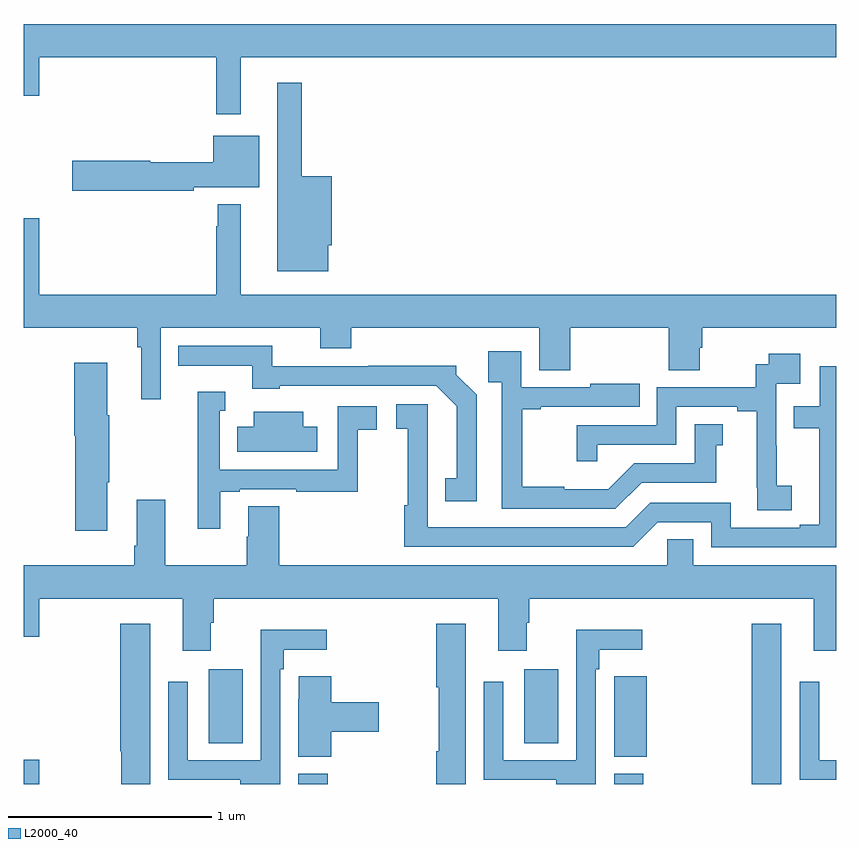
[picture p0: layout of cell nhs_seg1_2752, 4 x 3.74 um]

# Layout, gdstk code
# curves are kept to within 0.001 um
import gdstk
lib = gdstk.Library(unit=1e-6, precision=1e-09)
def R(c, l, rs):  # rectangles x0, y0, x1, y1
    for r in rs: c.add(gdstk.rectangle(r[:2], r[2:], *l))
def P(c, l, *ps):  # polygons
    for p in ps: c.add(gdstk.Polygon(p, *l))
L2000_40 = (2000, 40)

nhs_seg1_2752 = lib.new_cell('nhs_seg1_2752')
R(nhs_seg1_2752, L2000_40, [(261,504.199,261.076,504.319), (262.352,504.199,262.496,504.249), (263.906,504.199,264.05,504.249), (264.584,504.199,264.73,504.988), (261.911,504.4,262.078,504.763), (263.465,504.4,263.632,504.763)])
P(nhs_seg1_2752, L2000_40, [(261,507.588),(261.076,507.588),(261.076,507.776),(261.948,507.776),(261.948,507.495),(262.069,507.495),(262.069,507.776),(265,507.776),(265,507.94),(261,507.94)],
  [(262.498,506.85),(262.516,506.85),(262.516,507.19),(262.369,507.19),(262.369,507.652),(262.247,507.652),(262.247,506.723),(262.498,506.723)],
  [(261.836,507.137),(262.159,507.137),(262.159,507.391),(261.932,507.391),(261.932,507.26),(261.624,507.26),(261.624,507.266),(261.24,507.266),(261.24,507.119),(261.836,507.119)],
  [(261.675,506.444),(262.46,506.444),(262.46,506.345),(262.613,506.345),(262.613,506.444),(263.537,506.444),(263.537,506.236),(263.69,506.236),(263.69,506.444),(264.176,506.444),(264.176,506.236),(264.328,506.236),(264.328,506.346),(264.341,506.346),(264.341,506.444),(265,506.444),(265,506.608),(262.069,506.608),(262.069,507.052),(261.954,507.052),(261.954,506.945),(261.948,506.945),(261.948,506.608),(261.076,506.608),(261.076,506.983),(261,506.983),(261,506.444),(261.559,506.444),(261.559,506.348),(261.578,506.348),(261.578,506.094),(261.675,506.094)],
  [(263.229,506.114),(263.13,506.213),(263.13,506.258),(262.696,506.258),(262.696,506.256),(262.224,506.256),(262.224,506.355),(261.76,506.355),(261.76,506.259),(262.124,506.259),(262.124,506.144),(262.26,506.144),(262.26,506.16),(263.031,506.16),(263.132,506.059),(263.132,505.703),(263.074,505.703),(263.074,505.59),(263.229,505.59)],
  [(264.042,505.683),(264.409,505.683),(264.409,505.867),(264.442,505.867),(264.442,505.97),(264.302,505.97),(264.302,505.779),(264.006,505.779),(263.878,505.651),(263.66,505.651),(263.66,505.663),(263.453,505.663),(263.453,506.043),(263.545,506.043),(263.545,506.055),(264.032,506.055),(264.032,506.17),(263.789,506.17),(263.789,506.151),(263.448,506.151),(263.448,506.329),(263.287,506.329),(263.287,506.177),(263.352,506.177),(263.352,505.554),(263.913,505.554)],
  [(264.781,505.668),(264.707,505.668),(264.707,505.865),(264.705,505.865),(264.705,506.169),(264.823,506.169),(264.823,506.317),(264.667,506.317),(264.667,506.265),(264.604,506.265),(264.604,506.151),(264.117,506.151),(264.117,505.965),(263.722,505.965),(263.722,505.788),(263.823,505.788),(263.823,505.869),(264.213,505.869),(264.213,506.055),(264.512,506.055),(264.512,506.035),(264.608,506.035),(264.608,505.657),(264.61,505.657),(264.61,505.546),(264.781,505.546)],
  [(261.412,505.684),(261.42,505.684),(261.42,506.014),(261.412,506.014),(261.412,506.272),(261.248,506.272),(261.248,505.914),(261.254,505.914),(261.254,505.446),(261.412,505.446)],
  [(265,506.256),(264.918,506.256),(264.918,506.058),(264.79,506.058),(264.79,505.95),(264.917,505.95),(264.917,505.476),(264.821,505.476),(264.821,505.461),(264.48,505.461),(264.48,505.584),(264.084,505.584),(263.964,505.464),(262.989,505.464),(262.99,506.068),(262.833,506.068),(262.833,505.947),(262.891,505.947),(262.891,505.571),(262.873,505.571),(262.873,505.368),(264,505.368),(264.12,505.488),(264.384,505.488),(264.384,505.365),(265,505.365)],
  [(261.967,505.638),(262.063,505.638),(262.063,505.65),(262.342,505.65),(262.342,505.638),(262.644,505.638),(262.644,505.942),(262.738,505.942),(262.738,506.058),(262.545,506.058),(262.545,505.746),(261.966,505.746),(261.966,506.037),(261.991,506.037),(261.991,506.131),(261.858,506.131),(261.858,505.699),(261.857,505.699),(261.857,505.455),(261.967,505.455)],
  [(262.444,505.957),(262.375,505.957),(262.375,506.032),(262.133,506.032),(262.133,505.957),(262.051,505.957),(262.051,505.835),(262.444,505.835)],
  [(262.259,505.565),(262.106,505.565),(262.106,505.415),(262.099,505.415),(262.099,505.276),(261.697,505.276),(261.697,505.597),(261.557,505.597),(261.557,505.372),(261.545,505.372),(261.545,505.276),(261,505.276),(261,504.924),(261.076,504.924),(261.076,505.112),(261.782,505.112),(261.782,504.855),(261.922,504.855),(261.922,504.992),(261.935,504.992),(261.935,505.112),(263.336,505.112),(263.336,504.855),(263.476,504.855),(263.476,504.992),(263.489,504.992),(263.489,505.112),(264.89,505.112),(264.89,504.855),(265,504.855),(265,505.276),(264.295,505.276),(264.295,505.403),(264.168,505.403),(264.168,505.276),(262.259,505.276)],
  [(261.622,504.988),(261.476,504.988),(261.476,504.36),(261.481,504.36),(261.481,504.199),(261.622,504.199)],
  [(263.176,504.988),(263.03,504.988),(263.03,504.675),(263.042,504.675),(263.042,504.36),(263.03,504.36),(263.03,504.199),(263.176,504.199)],
  [(262.263,504.764),(262.279,504.764),(262.279,504.86),(262.492,504.86),(262.492,504.958),(262.167,504.958),(262.167,504.315),(261.807,504.315),(261.807,504.703),(261.711,504.703),(261.711,504.219),(262.067,504.219),(262.067,504.199),(262.263,504.199)],
  [(263.817,504.764),(263.833,504.764),(263.833,504.86),(264.046,504.86),(264.046,504.958),(263.721,504.958),(263.721,504.315),(263.361,504.315),(263.361,504.703),(263.265,504.703),(263.265,504.219),(263.621,504.219),(263.621,504.199),(263.817,504.199)],
  [(262.514,504.455),(262.747,504.455),(262.747,504.602),(262.514,504.602),(262.514,504.73),(262.353,504.73),(262.353,504.617),(262.352,504.617),(262.352,504.334),(262.514,504.334)],
  [(264.068,504.73),(263.907,504.73),(263.907,504.617),(263.906,504.617),(263.906,504.334),(264.068,504.334)],
  [(265,504.315),(264.915,504.315),(264.915,504.703),(264.819,504.703),(264.819,504.219),(265,504.219)])

lib.write_gds('nhs_seg1_2752.gds')
